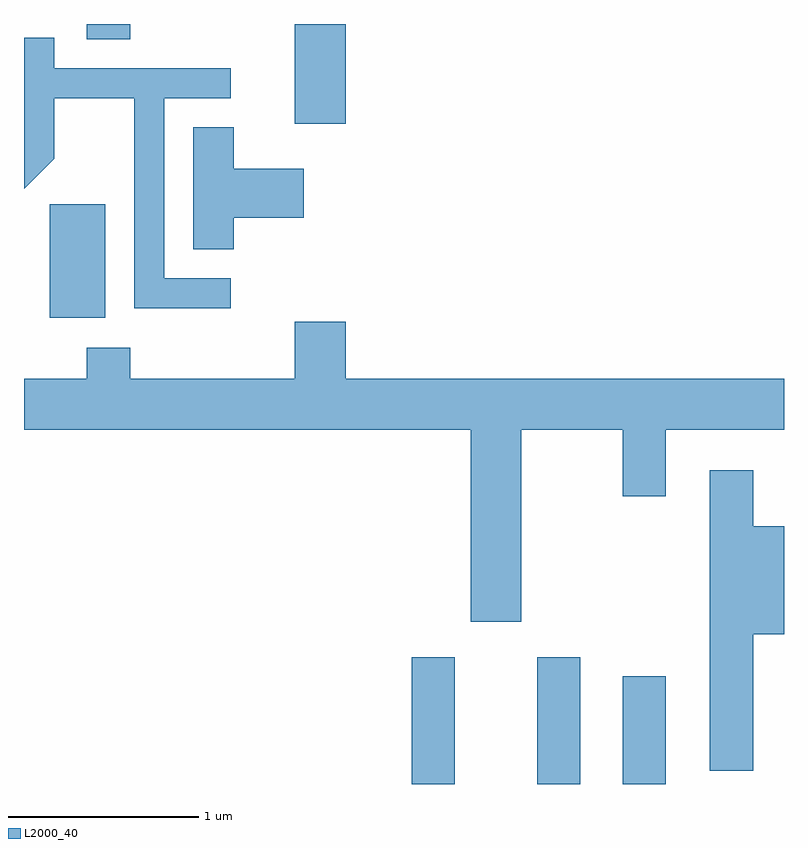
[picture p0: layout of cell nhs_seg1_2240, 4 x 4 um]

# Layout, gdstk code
import gdstk
lib = gdstk.Library(unit=1e-6, precision=1e-09)
def R(c, l, rs):  # rectangles x0, y0, x1, y1
    for r in rs: c.add(gdstk.rectangle(r[:2], r[2:], *l))
def P(c, l, *ps):  # polygons
    for p in ps: c.add(gdstk.Polygon(p, *l))
L2000_40 = (2000, 40)

nhs_seg1_2240 = lib.new_cell('nhs_seg1_2240')
R(nhs_seg1_2240, L2000_40, [(255.651,897.712,255.879,898.379), (256.311,897.712,256.539,898.379), (256.761,897.712,256.989,898.279), (253.746,900.166,254.039,900.764), (255.036,901.186,255.304,901.712), (253.941,901.631,254.169,901.712)])
P(nhs_seg1_2240, L2000_40, [(254.698,900.374),(254.349,900.374),(254.349,901.321),(254.698,901.321),(254.698,901.479),(253.769,901.479),(253.769,901.639),(253.611,901.639),(253.611,900.846),(253.769,901.004),(253.769,901.321),(254.191,901.321),(254.191,900.216),(254.698,900.216)],
  [(254.714,900.691),(255.084,900.691),(255.084,900.949),(254.714,900.949),(254.714,901.169),(254.501,901.169),(254.501,900.526),(254.714,900.526)],
  [(256.229,899.576),(256.761,899.576),(256.761,899.226),(256.989,899.226),(256.989,899.576),(257.611,899.576),(257.611,899.844),(255.304,899.844),(255.304,900.144),(255.036,900.144),(255.036,899.844),(254.169,899.844),(254.169,900.009),(253.941,900.009),(253.941,899.844),(253.611,899.844),(253.611,899.576),(255.961,899.576),(255.961,898.566),(256.229,898.566)],
  [(257.449,898.501),(257.611,898.501),(257.611,899.069),(257.449,899.069),(257.449,899.364),(257.221,899.364),(257.221,897.781),(257.449,897.781)])

lib.write_gds('nhs_seg1_2240.gds')
